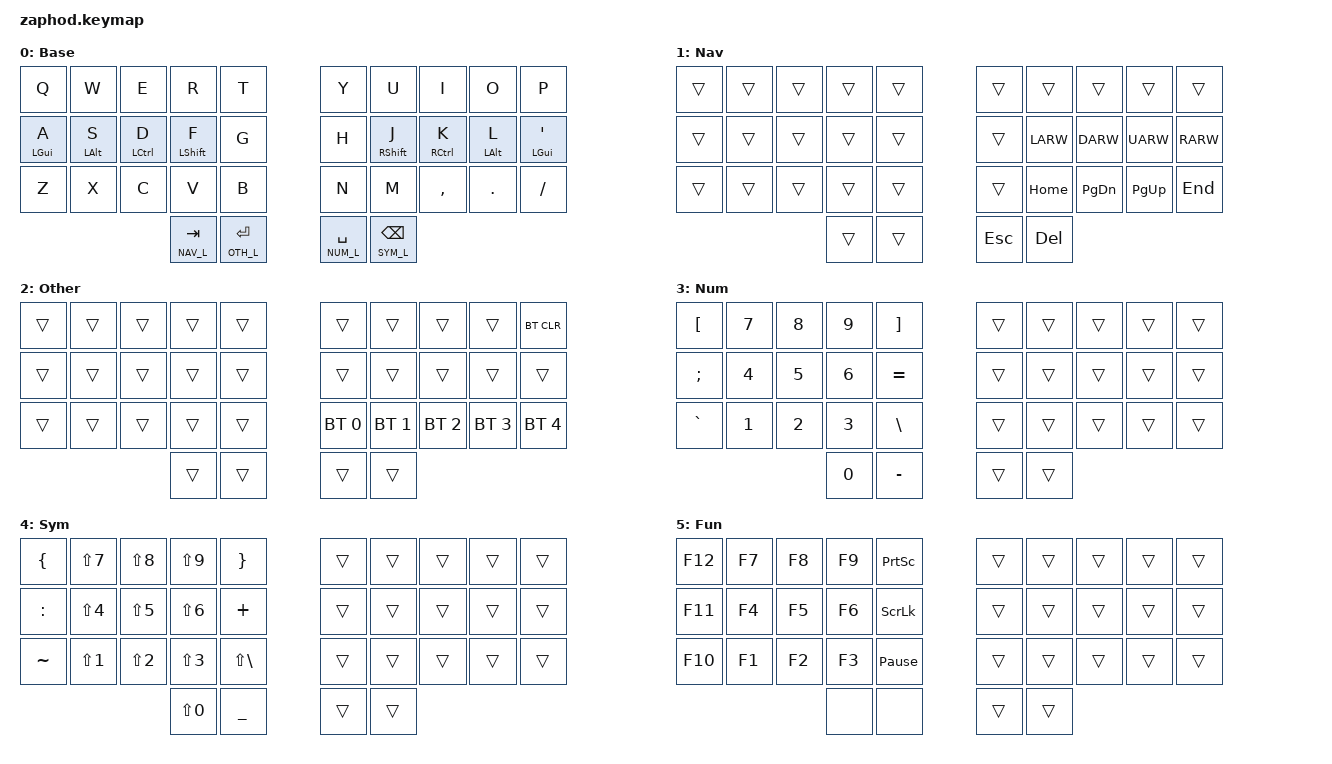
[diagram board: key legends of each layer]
/*
 * Copyright (c) 2021 Pete Johanson
 * bom attempts again
 * SPDX-License-Identifier: MIT
 */

#include <behaviors.dtsi>
#include <dt-bindings/zmk/keys.h>
#include <dt-bindings/zmk/bt.h>
#include <dt-bindings/zmk/outputs.h>

#define NAV_L 1
#define OTH_L 2
#define NUM_L 3
#define SYM_L 4
#define FUN_L 5

// Using layer taps on thumbs, having quick tap as well helps w/ repeating space/backspace
&lt { quick_tap_ms = <200>; };

/ {
    combos {
        compatible = "zmk,combos";

        fn_mo {
	    timeout-ms = <50>;
            key-positions = <32 33>;
            bindings = <&mo FUN_L>;
        };
	
	
	combo_esc {
            timeout-ms = <50>;
            key-positions = <1 2>;
            bindings = <&kp ESC> ;

        };

                    combo_del {
            timeout-ms = <50>;
            key-positions = <11 12>;
            bindings = <&kp BKSP> ; 

        };
        
        			combo_ent {
        	timeout-ms = <50>;
        	key-positions = <16 17>;
        	bindings = <&kp RETURN> ;

        };

					combo_sqt {
        	timeout-ms = <50>;
        	key-positions = <25 26>;
        	bindings = <&kp SQT> ;

        };

       				combo_min {
        	timeout-ms = <50>;
        	key-positions = <21 22>;
        	bindings = <&kp MINUS> ;

        };
    };

    behaviors {
        hm: homerow_mods {
            compatible = "zmk,behavior-hold-tap";
            label = "homerow mods";
            #binding-cells = <2>;
            tapping_term_ms = <200>;
            flavor = "tap-preferred";
            bindings = <&kp>, <&kp>;
        };
    };

    keymap {
        compatible = "zmk,keymap";

        default_layer {
            label = "Base";
            bindings = <
                &kp Q      &kp W      &kp E       &kp R          &kp T         &kp Y            &kp U          &kp I       &kp O      &kp P
                &hm LGUI A &hm LALT S &hm LCTRL D &hm LSHFT F    &kp G         &kp H            &hm RSHFT J    &hm RCTRL K &hm LALT L &hm LGUI QUOT
                &kp Z      &kp X      &kp C       &kp V          &kp B         &kp N            &kp M          &kp COMMA   &kp DOT    &kp FSLH
                                                  &lt NAV_L TAB  &lt OTH_L RET &lt NUM_L SPACE  &lt SYM_L BKSP
            >;
        };

        nav_layer {
            label = "Nav";
            bindings = <
                &trans     &trans     &trans      &trans          &trans       &trans           &trans         &trans      &trans     &trans
                &trans     &trans     &trans      &trans          &trans       &trans           &kp LARW       &kp DARW    &kp UARW   &kp RARW
                &trans     &trans     &trans      &trans          &trans       &trans           &kp HOME       &kp PG_DN   &kp PG_UP  &kp END
                                                  &trans          &trans       &kp ESC          &kp DEL
            >;
        };

        other_layer {
            label = "Other";
            bindings = <
                &trans	   &trans     &trans      &trans          &trans       &trans           &trans         &trans       &trans       &bt BT_CLR
                &trans     &trans     &trans      &trans          &trans       &trans           &trans         &trans       &trans       &trans
                &trans     &trans     &trans      &trans          &trans       &bt BT_SEL 0     &bt BT_SEL 1   &bt BT_SEL 2 &bt BT_SEL 3 &bt BT_SEL 4
                                                  &trans          &trans       &trans           &trans
            >;
        };

        num_layer {
            label = "Num";
            bindings = <
                &kp LBKT   &kp N7     &kp N8      &kp N9          &kp RBKT      &trans          &trans         &trans      &trans     &trans
                &kp SEMI   &kp N4     &kp N5      &kp N6          &kp EQUAL     &trans          &trans         &trans      &trans     &trans
                &kp GRAVE  &kp N1     &kp N2      &kp N3          &kp BSLH      &trans          &trans         &trans      &trans     &trans
                                                  &kp N0          &kp MINUS     &trans          &trans
            >;
        };

        sym_layer {
            label = "Sym";
            bindings = <
                &kp LBRC     &kp LS(N7)  &kp LS(N8)  &kp LS(N9) &kp RBRC        &trans &trans   &trans    &trans    &trans
                &kp COLON    &kp LS(N4)  &kp LS(N5)  &kp LS(N6) &kp PLUS        &trans &trans   &trans    &trans    &trans
                &kp TILDE    &kp LS(N1)  &kp LS(N2)  &kp LS(N3) &kp LS(BSLH)    &trans &trans   &trans    &trans    &trans
                                                   &kp LS(N0) &kp UNDER         &trans &trans
            >;
        };

        fun_layer {
            label = "Fun";
            bindings = <
                &kp F12     &kp F7     &kp F8      &kp F9     &kp PSCRN         &trans          &trans         &trans      &trans     &trans
                &kp F11     &kp F4     &kp F5      &kp F6     &kp SLCK          &trans          &trans         &trans      &trans     &trans
                &kp F10     &kp F1     &kp F2      &kp F3     &kp PAUSE_BREAK   &trans          &trans         &trans      &trans     &trans
                                                   &none      &none             &trans          &trans
            >;
        };
    };
};

